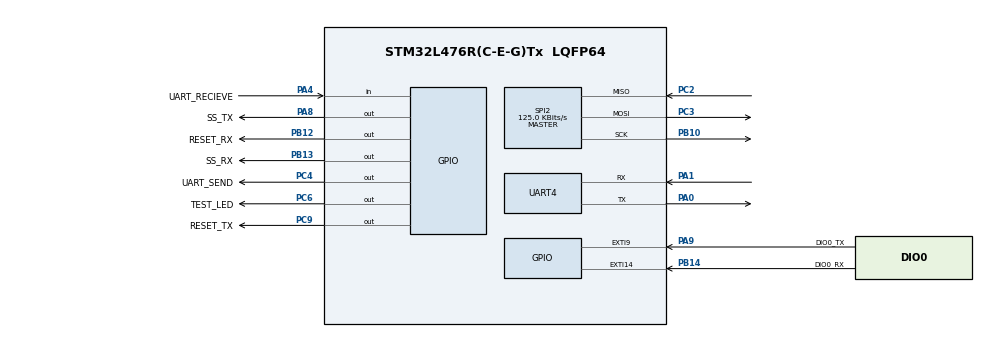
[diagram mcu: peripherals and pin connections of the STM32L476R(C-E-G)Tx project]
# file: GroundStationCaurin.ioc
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Mcu.Family=STM32L4
Mcu.Name=STM32L476R(C-E-G)Tx
Mcu.Package=LQFP64
NVIC.EXTI15_10_IRQn=true\:0\:0\:false\:false\:true\:true\:true
NVIC.EXTI9_5_IRQn=true\:0\:0\:false\:false\:true\:true\:true
NVIC.PriorityGroup=NVIC_PRIORITYGROUP_4
PA0.Mode=Asynchronous
PA0.Signal=UART4_TX
PA1.Mode=Asynchronous
PA1.Signal=UART4_RX
PA13\ (JTMS-SWDIO).Mode=JTAG_5_pins
PA13\ (JTMS-SWDIO).Signal=SYS_JTMS-SWDIO
PA14\ (JTCK-SWCLK).Mode=JTAG_5_pins
PA14\ (JTCK-SWCLK).Signal=SYS_JTCK-SWCLK
PA15\ (JTDI).Mode=JTAG_5_pins
PA15\ (JTDI).Signal=SYS_JTDI
PA4.GPIO_Label=UART_RECIEVE
PA4.GPIO_PuPd=GPIO_PULLDOWN
PA4.Signal=GPIO_Input
PA8.GPIO_Label=SS_TX
PA8.PinState=GPIO_PIN_SET
PA8.Signal=GPIO_Output
PA9.GPIO_Label=DIO0_TX
PA9.Signal=GPXTI9
PB10.Mode=Full_Duplex_Master
PB10.Signal=SPI2_SCK
PB12.GPIO_Label=RESET_RX
PB12.PinState=GPIO_PIN_SET
PB12.Signal=GPIO_Output
PB13.GPIO_Label=SS_RX
PB13.PinState=GPIO_PIN_SET
PB13.Signal=GPIO_Output
PB14.GPIO_Label=DIO0_RX
PB14.Signal=GPXTI14
PB3\ (JTDO-TRACESWO).Mode=JTAG_5_pins
PB3\ (JTDO-TRACESWO).Signal=SYS_JTDO-SWO
PB4\ (NJTRST).Mode=JTAG_5_pins
PB4\ (NJTRST).Signal=SYS_JTRST
PC14-OSC32_IN\ (PC14).Mode=LSE-External-Oscillator
PC14-OSC32_IN\ (PC14).Signal=RCC_OSC32_IN
PC15-OSC32_OUT\ (PC15).Mode=LSE-External-Oscillator
PC15-OSC32_OUT\ (PC15).Signal=RCC_OSC32_OUT
PC2.Mode=Full_Duplex_Master
PC2.Signal=SPI2_MISO
PC3.Mode=Full_Duplex_Master
PC3.Signal=SPI2_MOSI
PC4.GPIO_Label=UART_SEND
PC4.Signal=GPIO_Output
PC6.GPIO_Label=TEST_LED
PC6.Signal=GPIO_Output
PC9.GPIO_Label=RESET_TX
PC9.PinState=GPIO_PIN_SET
PC9.Signal=GPIO_Output
ProjectManager.HeapSize=0x200
ProjectManager.StackSize=0x400
ProjectManager.TargetToolchain=STM32CubeIDE
RCC.HSE_VALUE=8000000
RCC.HSI_VALUE=16000000
RCC.MSI_VALUE=4000000
RCC.VCOOutputFreq_Value=32000000
SPI2.BaudRatePrescaler=SPI_BAUDRATEPRESCALER_32
SPI2.CalculateBaudRate=125.0 KBits/s
SPI2.DataSize=SPI_DATASIZE_8BIT
SPI2.Direction=SPI_DIRECTION_2LINES
SPI2.Mode=SPI_MODE_MASTER
SPI2.VirtualType=VM_MASTER
TIM3.Period=0xffff
TIM3.Prescaler=79
VP_TIM3_VS_ClockSourceINT.Mode=Internal
board=custom

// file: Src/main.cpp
/* USER CODE BEGIN Header */
/**
  ******************************************************************************
  * @file           : main.c
  * @brief          : Main program body
  ******************************************************************************
  * @attention
  *
  * <h2><center>&copy; Copyright (c) 2019 STMicroelectronics.
  * All rights reserved.</center></h2>
  *
  * This software component is licensed by ST under BSD 3-Clause license,
  * the "License"; You may not use this file except in compliance with the
  * License. You may obtain a copy of the License at:
  *                        opensource.org/licenses/BSD-3-Clause
  *
  ******************************************************************************
  */
/* USER CODE END Header */

#include "main.h"

/* USER CODE BEGIN Includes */
#include "lora.h"
/* USER CODE END Includes */

SPI_HandleTypeDef hspi2;

TIM_HandleTypeDef htim3;

UART_HandleTypeDef huart4;

/* USER CODE BEGIN PV */
LoRaClass loraRX, loraTX;
uint8_t RxData[10] = "Rafael";
uint8_t TxData[10] = {0};

uint8_t isDefault;
/* USER CODE END PV */

void SystemClock_Config(void);
static void MX_GPIO_Init(void);
static void MX_SPI2_Init(void);
static void MX_TIM3_Init(void);
static void MX_UART4_Init(void);

int main(void)
{

  /* MCU Configuration--------------------------------------------------------*/

  /* Reset of all peripherals, Initializes the Flash interface and the Systick. */
  HAL_Init();

  /* Configure the system clock */
  SystemClock_Config();

  /* Initialize all configured peripherals */
  MX_GPIO_Init();
  MX_SPI2_Init();
  MX_TIM3_Init();
  MX_UART4_Init();
  /* USER CODE BEGIN 2 */
  //Inicializacao LoRa RX
  loraRX.setPins(SS_RX_GPIO_Port, SS_RX_Pin, RESET_RX_GPIO_Port, RESET_RX_Pin, EXTI15_10_IRQn);
  loraRX.setSPI(&hspi2);
  loraRX.setTIM(&htim3);

  if (!loraRX.begin(433.123E6)) {
   	  printf("Starting LoRa RX failed!\n");
   	  while (1);
  }

  loraRX.setSignalBandwidth(125E3);
  loraRX.setSpreadingFactor(11);
  loraRX.enableCrc();
  loraRX.receive();
  printf("LoRa RX started\n");

  //Inicializacao LoRa TX
  loraTX.setPins(SS_TX_GPIO_Port, SS_TX_Pin, RESET_TX_GPIO_Port, RESET_TX_Pin, EXTI9_5_IRQn);
  loraTX.setSPI(&hspi2);
  loraTX.setTIM(&htim3);

  if (!loraTX.begin(433.123E6)) {
     printf("Starting LoRa RX failed!\n");
     while (1);
  }
  loraTX.setTxPower(20, 1);
  loraTX.setSignalBandwidth(125E3);
  loraTX.setSpreadingFactor(11);
  loraTX.enableCrc();
  printf("LoRa TX started\n");

  /* USER CODE END 2 */

  /* Infinite loop */
  while (1)
  {

    /* USER CODE BEGIN 3 */
	HAL_UART_Receive(&huart4, RxData, sizeof(RxData), 100);
	HAL_UART_Abort(&huart4);

	if(RxData[2] == 'M' && RxData[3] == 'M'){
		loraTX.sendPacket(RxData, sizeof(RxData));
		loraRX.readPacket(TxData, sizeof(TxData));
		HAL_GPIO_TogglePin(TEST_LED_GPIO_Port, TEST_LED_Pin);
		HAL_Delay(100);
		HAL_GPIO_TogglePin(TEST_LED_GPIO_Port, TEST_LED_Pin);
	}

	continue;
	RxData[0]++;
	loraTX.sendPacket(RxData, sizeof(RxData));
	loraRX.readPacket(TxData, sizeof(TxData));
/*
	//Set LoRa TX to default
	for(int i = 0; i < 128; i++){
		TxData[i] = 'X';
	}

	//Check Serial Message
	if(HAL_GPIO_ReadPin(UART_RECIEVE_GPIO_Port, UART_RECIEVE_Pin) == GPIO_PIN_SET){
		 if(HAL_UART_Receive(&huart4, RxData, sizeof(RxData), 1000) == HAL_OK){
			 HAL_UART_Abort(&huart4);
			 loraTX.sendPacket(RxData, sizeof(RxData));
		 }
	}

	//Check LoRa Message
	loraRX.readPacket(TxData, sizeof(TxData));

	isDefault = 1;
	for(int i = 0; i < 128; i++){
		if(TxData[i] != 'X'){
			isDefault = 0;
			break;
		}
	}

	if(isDefault == 1)
		continue;

	//If LoRa Received send to Serial
	*/
	HAL_GPIO_WritePin(UART_SEND_GPIO_Port, UART_SEND_Pin, GPIO_PIN_SET);
	HAL_UART_Transmit(&huart4, TxData, sizeof(TxData), 1000);
	HAL_UART_Abort(&huart4);
	HAL_GPIO_WritePin(UART_SEND_GPIO_Port, UART_SEND_Pin, GPIO_PIN_RESET);

  }
  /* USER CODE END 3 */
}

void SystemClock_Config(void)
{
  RCC_OscInitTypeDef RCC_OscInitStruct = {0};
  RCC_ClkInitTypeDef RCC_ClkInitStruct = {0};
  RCC_PeriphCLKInitTypeDef PeriphClkInit = {0};

  /** Configure LSE Drive Capability
  */
  HAL_PWR_EnableBkUpAccess();
  __HAL_RCC_LSEDRIVE_CONFIG(RCC_LSEDRIVE_LOW);
  /** Initializes the CPU, AHB and APB busses clocks
  */
  RCC_OscInitStruct.OscillatorType = RCC_OSCILLATORTYPE_LSE|RCC_OSCILLATORTYPE_MSI;
  RCC_OscInitStruct.LSEState = RCC_LSE_ON;
  RCC_OscInitStruct.MSIState = RCC_MSI_ON;
  RCC_OscInitStruct.MSICalibrationValue = 0;
  RCC_OscInitStruct.MSIClockRange = RCC_MSIRANGE_6;
  RCC_OscInitStruct.PLL.PLLState = RCC_PLL_NONE;
  if (HAL_RCC_OscConfig(&RCC_OscInitStruct) != HAL_OK)
  {
    Error_Handler();
  }
  /** Initializes the CPU, AHB and APB busses clocks
  */
  RCC_ClkInitStruct.ClockType = RCC_CLOCKTYPE_HCLK|RCC_CLOCKTYPE_SYSCLK
                              |RCC_CLOCKTYPE_PCLK1|RCC_CLOCKTYPE_PCLK2;
  RCC_ClkInitStruct.SYSCLKSource = RCC_SYSCLKSOURCE_MSI;
  RCC_ClkInitStruct.AHBCLKDivider = RCC_SYSCLK_DIV1;
  RCC_ClkInitStruct.APB1CLKDivider = RCC_HCLK_DIV1;
  RCC_ClkInitStruct.APB2CLKDivider = RCC_HCLK_DIV1;

  if (HAL_RCC_ClockConfig(&RCC_ClkInitStruct, FLASH_LATENCY_0) != HAL_OK)
  {
    Error_Handler();
  }
  PeriphClkInit.PeriphClockSelection = RCC_PERIPHCLK_UART4;
  PeriphClkInit.Uart4ClockSelection = RCC_UART4CLKSOURCE_PCLK1;
  if (HAL_RCCEx_PeriphCLKConfig(&PeriphClkInit) != HAL_OK)
  {
    Error_Handler();
  }
  /** Configure the main internal regulator output voltage
  */
  if (HAL_PWREx_ControlVoltageScaling(PWR_REGULATOR_VOLTAGE_SCALE1) != HAL_OK)
  {
    Error_Handler();
  }
  /** Enable MSI Auto calibration
  */
  HAL_RCCEx_EnableMSIPLLMode();
}

static void MX_SPI2_Init(void)
{

  /* SPI2 parameter configuration*/
  hspi2.Instance = SPI2;
  hspi2.Init.Mode = SPI_MODE_MASTER;
  hspi2.Init.Direction = SPI_DIRECTION_2LINES;
  hspi2.Init.DataSize = SPI_DATASIZE_8BIT;
  hspi2.Init.CLKPolarity = SPI_POLARITY_LOW;
  hspi2.Init.CLKPhase = SPI_PHASE_1EDGE;
  hspi2.Init.NSS = SPI_NSS_SOFT;
  hspi2.Init.BaudRatePrescaler = SPI_BAUDRATEPRESCALER_32;
  hspi2.Init.FirstBit = SPI_FIRSTBIT_MSB;
  hspi2.Init.TIMode = SPI_TIMODE_DISABLE;
  hspi2.Init.CRCCalculation = SPI_CRCCALCULATION_DISABLE;
  hspi2.Init.CRCPolynomial = 7;
  hspi2.Init.CRCLength = SPI_CRC_LENGTH_DATASIZE;
  hspi2.Init.NSSPMode = SPI_NSS_PULSE_ENABLE;
  if (HAL_SPI_Init(&hspi2) != HAL_OK)
  {
    Error_Handler();
  }

}

static void MX_TIM3_Init(void)
{

  TIM_ClockConfigTypeDef sClockSourceConfig = {0};
  TIM_MasterConfigTypeDef sMasterConfig = {0};

  htim3.Instance = TIM3;
  htim3.Init.Prescaler = 79;
  htim3.Init.CounterMode = TIM_COUNTERMODE_UP;
  htim3.Init.Period = 0xffff;
  htim3.Init.ClockDivision = TIM_CLOCKDIVISION_DIV1;
  htim3.Init.AutoReloadPreload = TIM_AUTORELOAD_PRELOAD_DISABLE;
  if (HAL_TIM_Base_Init(&htim3) != HAL_OK)
  {
    Error_Handler();
  }
  sClockSourceConfig.ClockSource = TIM_CLOCKSOURCE_INTERNAL;
  if (HAL_TIM_ConfigClockSource(&htim3, &sClockSourceConfig) != HAL_OK)
  {
    Error_Handler();
  }
  sMasterConfig.MasterOutputTrigger = TIM_TRGO_RESET;
  sMasterConfig.MasterSlaveMode = TIM_MASTERSLAVEMODE_DISABLE;
  if (HAL_TIMEx_MasterConfigSynchronization(&htim3, &sMasterConfig) != HAL_OK)
  {
    Error_Handler();
  }

}

static void MX_UART4_Init(void)
{

  huart4.Instance = UART4;
  huart4.Init.BaudRate = 115200;
  huart4.Init.WordLength = UART_WORDLENGTH_8B;
  huart4.Init.StopBits = UART_STOPBITS_1;
  huart4.Init.Parity = UART_PARITY_NONE;
  huart4.Init.Mode = UART_MODE_TX_RX;
  huart4.Init.HwFlowCtl = UART_HWCONTROL_NONE;
  huart4.Init.OverSampling = UART_OVERSAMPLING_16;
  huart4.Init.OneBitSampling = UART_ONE_BIT_SAMPLE_DISABLE;
  huart4.AdvancedInit.AdvFeatureInit = UART_ADVFEATURE_NO_INIT;
  if (HAL_UART_Init(&huart4) != HAL_OK)
  {
    Error_Handler();
  }

}

static void MX_GPIO_Init(void)
{
  GPIO_InitTypeDef GPIO_InitStruct = {0};

  /* GPIO Ports Clock Enable */
  __HAL_RCC_GPIOC_CLK_ENABLE();
  __HAL_RCC_GPIOA_CLK_ENABLE();
  __HAL_RCC_GPIOB_CLK_ENABLE();

  /*Configure GPIO pin Output Level */
  HAL_GPIO_WritePin(GPIOC, UART_SEND_Pin|TEST_LED_Pin, GPIO_PIN_RESET);

  /*Configure GPIO pin Output Level */
  HAL_GPIO_WritePin(GPIOB, RESET_RX_Pin|SS_RX_Pin, GPIO_PIN_SET);

  /*Configure GPIO pin Output Level */
  HAL_GPIO_WritePin(RESET_TX_GPIO_Port, RESET_TX_Pin, GPIO_PIN_SET);

  /*Configure GPIO pin Output Level */
  HAL_GPIO_WritePin(SS_TX_GPIO_Port, SS_TX_Pin, GPIO_PIN_SET);

  /*Configure GPIO pin : UART_RECIEVE_Pin */
  GPIO_InitStruct.Pin = UART_RECIEVE_Pin;
  GPIO_InitStruct.Mode = GPIO_MODE_INPUT;
  GPIO_InitStruct.Pull = GPIO_PULLDOWN;
  HAL_GPIO_Init(UART_RECIEVE_GPIO_Port, &GPIO_InitStruct);

  /*Configure GPIO pins : UART_SEND_Pin TEST_LED_Pin RESET_TX_Pin */
  GPIO_InitStruct.Pin = UART_SEND_Pin|TEST_LED_Pin|RESET_TX_Pin;
  GPIO_InitStruct.Mode = GPIO_MODE_OUTPUT_PP;
  GPIO_InitStruct.Pull = GPIO_NOPULL;
  GPIO_InitStruct.Speed = GPIO_SPEED_FREQ_LOW;
  HAL_GPIO_Init(GPIOC, &GPIO_InitStruct);

  /*Configure GPIO pins : RESET_RX_Pin SS_RX_Pin */
  GPIO_InitStruct.Pin = RESET_RX_Pin|SS_RX_Pin;
  GPIO_InitStruct.Mode = GPIO_MODE_OUTPUT_PP;
  GPIO_InitStruct.Pull = GPIO_NOPULL;
  GPIO_InitStruct.Speed = GPIO_SPEED_FREQ_LOW;
  HAL_GPIO_Init(GPIOB, &GPIO_InitStruct);

  /*Configure GPIO pin : DIO0_RX_Pin */
  GPIO_InitStruct.Pin = DIO0_RX_Pin;
  GPIO_InitStruct.Mode = GPIO_MODE_IT_RISING;
  GPIO_InitStruct.Pull = GPIO_NOPULL;
  HAL_GPIO_Init(DIO0_RX_GPIO_Port, &GPIO_InitStruct);

  /*Configure GPIO pin : SS_TX_Pin */
  GPIO_InitStruct.Pin = SS_TX_Pin;
  GPIO_InitStruct.Mode = GPIO_MODE_OUTPUT_PP;
  GPIO_InitStruct.Pull = GPIO_NOPULL;
  GPIO_InitStruct.Speed = GPIO_SPEED_FREQ_LOW;
  HAL_GPIO_Init(SS_TX_GPIO_Port, &GPIO_InitStruct);

  /*Configure GPIO pin : DIO0_TX_Pin */
  GPIO_InitStruct.Pin = DIO0_TX_Pin;
  GPIO_InitStruct.Mode = GPIO_MODE_IT_RISING;
  GPIO_InitStruct.Pull = GPIO_NOPULL;
  HAL_GPIO_Init(DIO0_TX_GPIO_Port, &GPIO_InitStruct);

  /* EXTI interrupt init*/
  HAL_NVIC_SetPriority(EXTI9_5_IRQn, 0, 0);
  HAL_NVIC_EnableIRQ(EXTI9_5_IRQn);

  HAL_NVIC_SetPriority(EXTI15_10_IRQn, 0, 0);
  HAL_NVIC_EnableIRQ(EXTI15_10_IRQn);

}

/* USER CODE BEGIN 4 */
void HAL_GPIO_EXTI_Callback (uint16_t GPIO_Pin){
	if(GPIO_Pin == DIO0_TX_Pin){
		loraTX.onDio0Rise();
	}
	if(GPIO_Pin == DIO0_RX_Pin){
		loraRX.onDio0Rise();
	}
}
/* USER CODE END 4 */

void Error_Handler(void)
{
}

/************************ (C) COPYRIGHT STMicroelectronics *****END OF FILE****/
